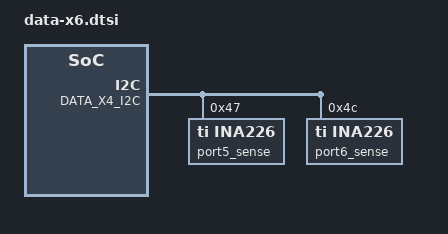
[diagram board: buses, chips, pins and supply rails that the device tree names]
/*
 * A DATA x6 board in the drawer (docs/multi-dut-node.md): six ports,
 * sub-slots <bay>.1-6, behind the same DATA lead (J7) as a DATA x4, power
 * only: no pin header, matrix, co-processor or RESET/BOOT lines.  Included
 * after data-x4.dtsi, wherever it is: the lead takes either board, one image
 * serves both, and src/ports.c tells them apart each time it probes.
 *
 * Both boards answer at 0x20 (here a TCA9535, 16 lines; on the DATA x4 a
 * TCA6408A, 8 lines), so this expander's node is disabled: its address and
 * pins only, no driver (src/ports.c drives it, as the DATA x4's), and no
 * second enabled node at that address.  src/ports.c checks at build time
 * that the two stay apart.  Ports 1-4's INA226 sit at the DATA
 * x4's addresses, on the same 100 mOhm shunts: they share its nodes.
 * Hub port 6 is USB-C 1, hub port n - 1 is USB-C n (the DATA x4: n).
 * Pins: electronics/data-port-x6/design.py.
 *
 * SPDX-License-Identifier: Apache-2.0
 */

#include <zephyr/dt-bindings/gpio/gpio.h>

/ {
	/* The ports, as src/ports.c takes them: one group per board */
	data_x6: data-x6 {
		/* U2's P00-P13: port n's EN on line 2n - 2, FAULT_N on the next */
		dut_x6_port1: dut-port-1 {
			compatible = "hwtr,dut-port";
			sub-slot = <1>;
			hub-port = <6>;
			enable-gpios = <&ports_x6_io 0 GPIO_ACTIVE_HIGH>;
			fault-gpios = <&ports_x6_io 1 GPIO_ACTIVE_LOW>;
			power-monitor = <&port1_sense>;
		};

		dut_x6_port2: dut-port-2 {
			compatible = "hwtr,dut-port";
			sub-slot = <2>;
			hub-port = <1>;
			enable-gpios = <&ports_x6_io 2 GPIO_ACTIVE_HIGH>;
			fault-gpios = <&ports_x6_io 3 GPIO_ACTIVE_LOW>;
			power-monitor = <&port2_sense>;
		};

		dut_x6_port3: dut-port-3 {
			compatible = "hwtr,dut-port";
			sub-slot = <3>;
			hub-port = <2>;
			enable-gpios = <&ports_x6_io 4 GPIO_ACTIVE_HIGH>;
			fault-gpios = <&ports_x6_io 5 GPIO_ACTIVE_LOW>;
			power-monitor = <&port3_sense>;
		};

		dut_x6_port4: dut-port-4 {
			compatible = "hwtr,dut-port";
			sub-slot = <4>;
			hub-port = <3>;
			enable-gpios = <&ports_x6_io 6 GPIO_ACTIVE_HIGH>;
			fault-gpios = <&ports_x6_io 7 GPIO_ACTIVE_LOW>;
			power-monitor = <&port4_sense>;
		};

		dut_x6_port5: dut-port-5 {
			compatible = "hwtr,dut-port";
			sub-slot = <5>;
			hub-port = <4>;
			enable-gpios = <&ports_x6_io 8 GPIO_ACTIVE_HIGH>;
			fault-gpios = <&ports_x6_io 9 GPIO_ACTIVE_LOW>;
			power-monitor = <&port5_sense>;
		};

		dut_x6_port6: dut-port-6 {
			compatible = "hwtr,dut-port";
			sub-slot = <6>;
			hub-port = <5>;
			enable-gpios = <&ports_x6_io 10 GPIO_ACTIVE_HIGH>;
			fault-gpios = <&ports_x6_io 11 GPIO_ACTIVE_LOW>;
			power-monitor = <&port6_sense>;
		};
	};
};

/* The bus data-x4.dtsi put the DATA lead on */
&DATA_X4_I2C {
	/*
	 * U2, the TCA9535: register pairs (port 0 then port 1), the PCA9555's
	 * map.  P14-P17 are spare, pulled down: src/ports.c makes them outputs,
	 * low.  A name of its own: as gpio@20 it would be the DATA x4's
	 * ports_io0, the two merged into one node.
	 */
	ports_x6_io: gpio-x6@20 {
		compatible = "nxp,pca95xx";
		reg = <0x20>;
		gpio-controller;
		#gpio-cells = <2>;
		ngpios = <16>;
		status = "disabled";
	};

	/* Ports 5 and 6: 100 mOhm shunts, as the others */
	port5_sense: ina226@47 {
		compatible = "ti,ina226";
		reg = <0x47>;
		current-lsb-microamps = <25>;
		rshunt-micro-ohms = <100000>;
		zephyr,deferred-init;
	};

	port6_sense: ina226@4c {
		compatible = "ti,ina226";
		reg = <0x4c>;
		current-lsb-microamps = <25>;
		rshunt-micro-ohms = <100000>;
		zephyr,deferred-init;
	};
};
